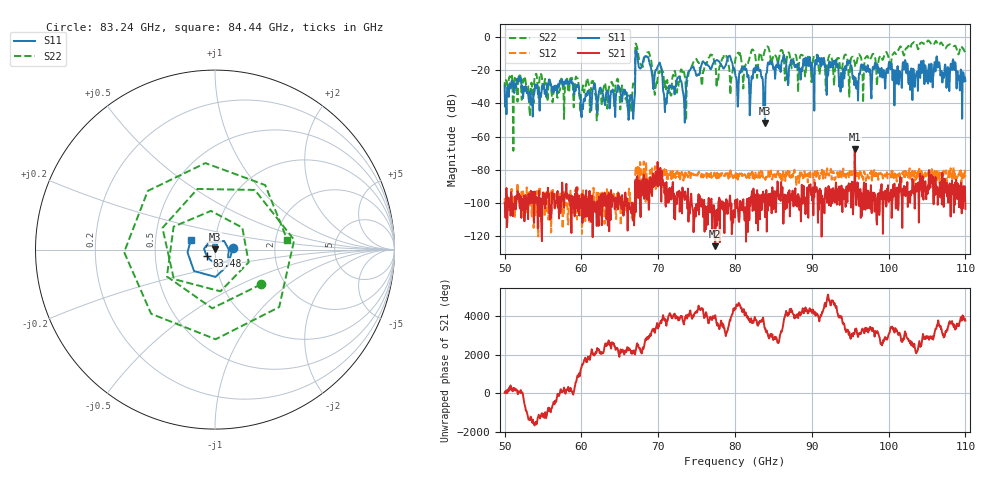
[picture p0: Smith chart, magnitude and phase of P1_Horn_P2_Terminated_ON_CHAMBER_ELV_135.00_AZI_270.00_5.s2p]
! 11/26/2026 11:19:12 AM
! C:\ANRITSUVNA\TEMP\TEMP.S2P
! CHANNEL.1
! TR.MEASUREMENT
! RAW.DATA
# HZ S RI R 50.0
! FREQ.HZ  S11RE  S11IM  S21RE  S21IM  S12RE  S12IM  S22RE  S22IM
!; PortSelection: Port_12
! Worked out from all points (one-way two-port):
!   1001 points, 50 GHz to 110 GHz, reference 50 ohm
!   highest |S21| = -67.56 dB at 95.6 GHz (marker M1); lowest = -125.9 dB at 77.42 GHz (marker M2)
!   lowest |S11| = -52.0 dB at 83.9 GHz (marker M3), VSWR 1.01, Z = 49.8 + j0.127 ohm
!   |S11| at or under -10 dB: start of sweep to 67.04 GHz; 67.24 GHz to end of sweep
!   |S22| runs from -68.6 to -2.3 dB; largest |S21 - S12| = 0.00067
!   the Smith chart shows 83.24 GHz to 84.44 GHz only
!   S11 on the Smith chart (normalised r, x): 83.24 GHz: 1.22, +0.02; 83.48 GHz: 0.91, -0.06; 84.44 GHz: 0.76, +0.08
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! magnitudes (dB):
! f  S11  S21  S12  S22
! 50 GHz  -29.3  -99.8  -97.2  -27.3
! 58.46 GHz  -27.0  -95.1  -94.9  -28.8
! 60.02 GHz  -48.4  -100.5  -94.6  -33.8
! 66.26 GHz  -39.6  -101.7  -95.7  -36.1
! 66.68 GHz  -43.0  -110.5  -104.4  -30.4
! 67.34 GHz  -13.7  -92.1  -78.2  -8.4
! 70.04 GHz  -17.1  -87.8  -81.6  -21.0
! 71.06 GHz  -40.4  -87.4  -80.1  -30.6
! 73.7 GHz  -25.8  -97.7  -83.4  -30.6
! 74.84 GHz  -21.1  -107.1  -83.2  -13.7
! 77.42 GHz  -14.7  -125.9  -83.6  -16.0
! 80 GHz  -21.2  -108.6  -84.5  -15.6
! 83.24 GHz  -20.0  -109.7  -84.9  -9.8
! 83.48 GHz  -24.7  -104.2  -83.7  -13.3
! 83.9 GHz  -52.0  -108.4  -85.1  -8.0
! 84.44 GHz  -16.7  -101.0  -81.8  -7.8
! 90.02 GHz  -15.9  -93.3  -84.2  -24.0
! 94.88 GHz  -14.3  -92.5  -82.2  -36.1
! 95.6 GHz  -27.1  -67.6  -68.4  -15.7
! 100 GHz  -15.7  -99.3  -82.8  -13.5
! 103.3 GHz  -20.5  -93.7  -94.5  -3.4
! 110 GHz  -26.7  -103.5  -84.1  -10.9
